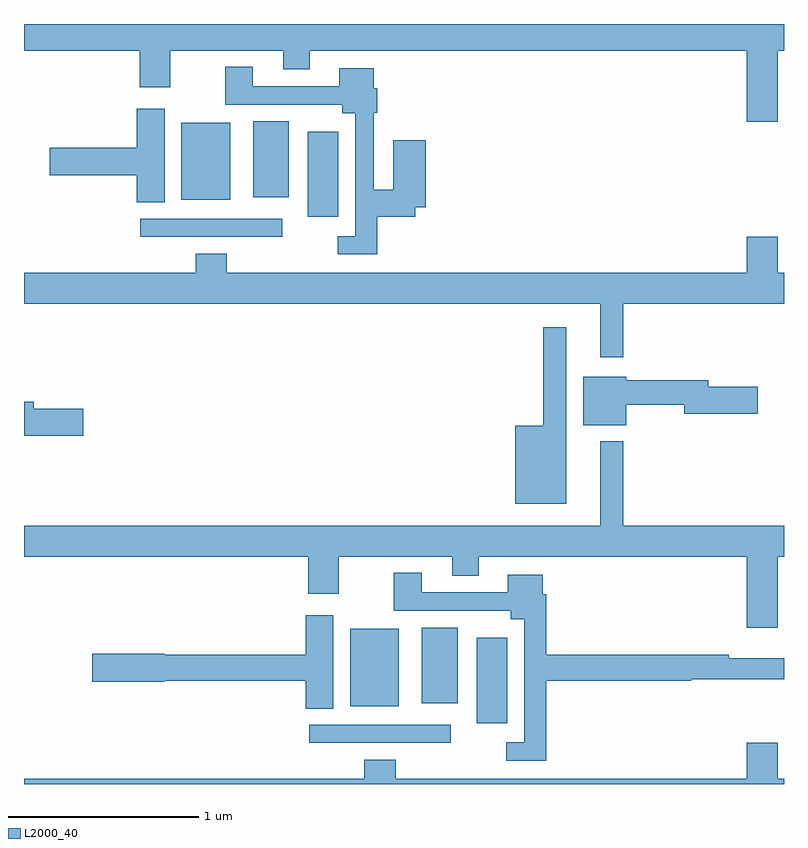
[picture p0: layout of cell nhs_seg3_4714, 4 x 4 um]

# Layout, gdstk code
import gdstk
lib = gdstk.Library(unit=1e-6, precision=1e-09)
def R(c, l, rs):  # rectangles x0, y0, x1, y1
    for r in rs: c.add(gdstk.rectangle(r[:2], r[2:], *l))
def P(c, l, *ps):  # polygons
    for p in ps: c.add(gdstk.Polygon(p, *l))
L2000_40 = (2000, 40)

nhs_seg3_4714 = lib.new_cell('nhs_seg3_4714')
R(nhs_seg3_4714, L2000_40, [(366.501,686.616,367.246,686.712), (367.382,686.721,367.543,687.169), (366.716,686.81,366.973,687.217), (367.094,686.825,367.282,687.223), (365.613,689.28,366.358,689.376), (366.494,689.385,366.655,689.833), (365.828,689.474,366.085,689.881), (366.206,689.489,366.394,689.887)])
P(nhs_seg3_4714, L2000_40, [(365,690.26),(365.609,690.26),(365.609,690.066),(365.769,690.066),(365.769,690.26),(366.365,690.26),(366.365,690.161),(366.505,690.161),(366.505,690.26),(368.804,690.26),(368.804,689.886),(368.968,689.886),(368.968,690.26),(369,690.26),(369,690.4),(365,690.4)],
  [(366.86,689.386),(367.06,689.386),(367.06,689.435),(367.115,689.435),(367.115,689.788),(366.944,689.788),(366.944,689.528),(366.84,689.528),(366.84,689.934),(366.86,689.934),(366.86,690.062),(366.841,690.062),(366.841,690.166),(366.659,690.166),(366.659,690.072),(366.205,690.072),(366.205,690.175),(366.058,690.175),(366.058,689.976),(366.674,689.976),(366.674,689.93),(366.744,689.93),(366.744,689.283),(366.651,689.283),(366.651,689.187),(366.86,689.187)],
  [(365.74,689.953),(365.594,689.953),(365.594,689.75),(365.136,689.75),(365.136,689.603),(365.594,689.603),(365.594,689.461),(365.74,689.461)],
  [(368.155,688.928),(369,688.928),(369,689.092),(368.968,689.092),(368.968,689.281),(368.804,689.281),(368.804,689.092),(366.068,689.092),(366.068,689.191),(365.903,689.191),(365.903,689.092),(365,689.092),(365,688.928),(368.033,688.928),(368.033,688.647),(368.155,688.647)],
  [(367.855,688.804),(367.734,688.804),(367.734,688.285),(367.586,688.285),(367.586,687.875),(367.855,687.875)],
  [(368.17,688.396),(368.474,688.396),(368.474,688.349),(368.863,688.349),(368.863,688.491),(368.602,688.491),(368.602,688.525),(368.17,688.525),(368.17,688.543),(367.943,688.543),(367.943,688.289),(368.17,688.289)],
  [(365.311,688.376),(365.05,688.376),(365.05,688.412),(365,688.412),(365,688.234),(365.311,688.234)],
  [(368.968,687.596),(369,687.596),(369,687.76),(368.155,687.76),(368.155,688.204),(368.033,688.204),(368.033,687.76),(365,687.76),(365,687.596),(366.497,687.596),(366.497,687.402),(366.657,687.402),(366.657,687.596),(367.253,687.596),(367.253,687.497),(367.393,687.497),(367.393,687.596),(368.804,687.596),(368.804,687.222),(368.968,687.222)],
  [(367.748,686.944),(368.513,686.944),(368.513,686.952),(369,686.952),(369,687.061),(368.708,687.061),(368.708,687.08),(367.748,687.08),(367.748,687.398),(367.729,687.398),(367.729,687.502),(367.547,687.502),(367.547,687.408),(367.093,687.408),(367.093,687.511),(366.946,687.511),(366.946,687.312),(367.562,687.312),(367.562,687.266),(367.632,687.266),(367.632,686.619),(367.539,686.619),(367.539,686.523),(367.748,686.523)],
  [(366.628,687.289),(366.482,687.289),(366.482,687.08),(365.742,687.08),(365.742,687.086),(365.358,687.086),(365.358,686.939),(365.742,686.939),(365.742,686.944),(366.482,686.944),(366.482,686.797),(366.628,686.797)],
  [(369,686.428),(368.968,686.428),(368.968,686.617),(368.804,686.617),(368.804,686.428),(366.956,686.428),(366.956,686.527),(366.791,686.527),(366.791,686.428),(365,686.428),(365,686.4),(369,686.4)])

lib.write_gds('nhs_seg3_4714.gds')
